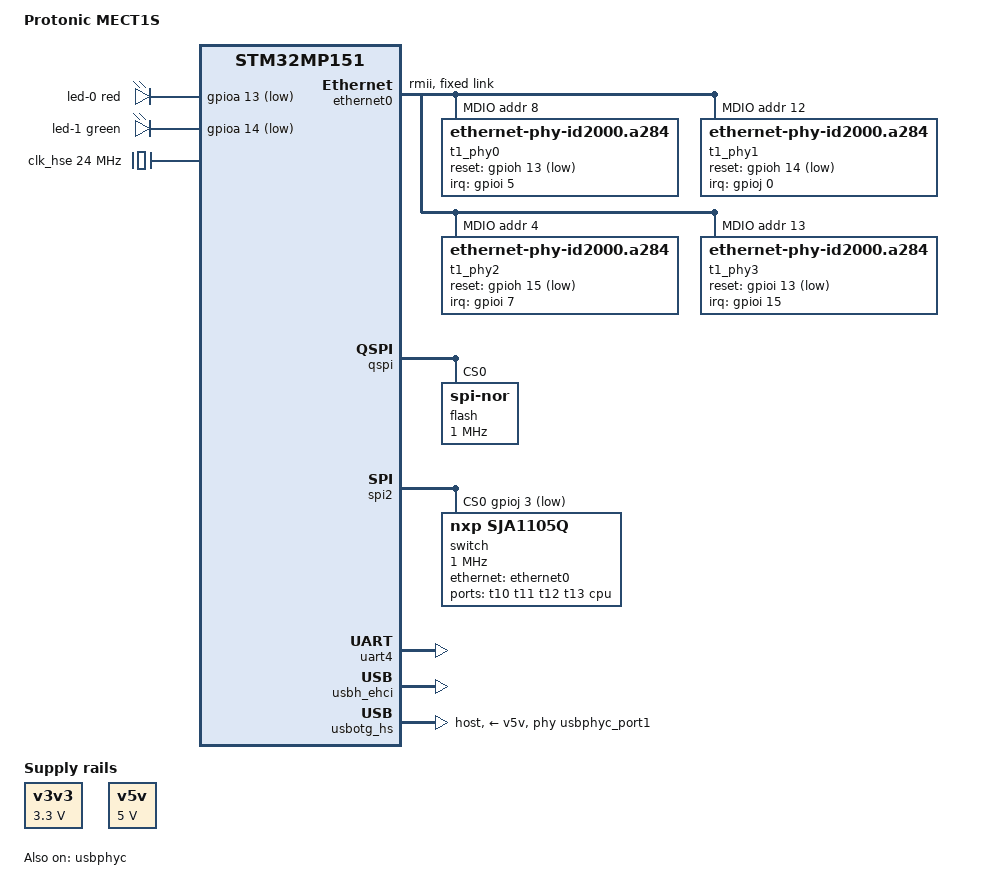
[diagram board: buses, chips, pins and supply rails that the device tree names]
// SPDX-License-Identifier: (GPL-2.0+ OR BSD-3-Clause)
/*
 * Copyright (C) Protonic Holland
 * Author: David Jander <david@protonic.nl>
 */
/dts-v1/;

#include "stm32mp151.dtsi"
#include "stm32mp15xc.dtsi"
#include "stm32mp15-pinctrl.dtsi"
#include "stm32mp15xxaa-pinctrl.dtsi"
#include <dt-bindings/gpio/gpio.h>
#include <dt-bindings/input/input.h>
#include <dt-bindings/leds/common.h>

/ {
	model = "Protonic MECT1S";
	compatible = "prt,mect1s", "st,stm32mp151";

	chosen {
		stdout-path = "serial0:1500000n8";
	};

	aliases {
		serial0 = &uart4;
		ethernet0 = &ethernet0;
		ethernet1 = &ethernet1;
		ethernet2 = &ethernet2;
		ethernet3 = &ethernet3;
		ethernet4 = &ethernet4;
	};

	v3v3: regulator-v3v3 {
		compatible = "regulator-fixed";
		regulator-name = "v3v3";
		regulator-min-microvolt = <3300000>;
		regulator-max-microvolt = <3300000>;
	};

	v5v: regulator-v5v {
		compatible = "regulator-fixed";
		regulator-name = "v5v";
		regulator-min-microvolt = <5000000>;
		regulator-max-microvolt = <5000000>;
		regulator-always-on;
	};

	led {
		compatible = "gpio-leds";

		led-0 {
			color = <LED_COLOR_ID_RED>;
			function = LED_FUNCTION_DEBUG;
			gpios = <&gpioa 13 GPIO_ACTIVE_LOW>;
		};

		led-1 {
			color = <LED_COLOR_ID_GREEN>;
			function = LED_FUNCTION_DEBUG;
			gpios = <&gpioa 14 GPIO_ACTIVE_LOW>;
			linux,default-trigger = "heartbeat";
		};
	};
};

&clk_hse {
	clock-frequency = <24000000>;
};

&clk_lse {
	status = "disabled";
};

&ethernet0 {
	status = "okay";
	pinctrl-0 = <&ethernet0_rmii_pins_a>;
	pinctrl-1 = <&ethernet0_rmii_sleep_pins_a>;
	pinctrl-names = "default", "sleep";
	phy-mode = "rmii";
	max-speed = <100>;
	st,eth-clk-sel;

	fixed-link {
		speed = <100>;
		full-duplex;
	};

	mdio0: mdio {
		 #address-cells = <1>;
		 #size-cells = <0>;
		 compatible = "snps,dwmac-mdio";
	};
};

&{ethernet0_rmii_pins_a/pins1} {
	pinmux = <STM32_PINMUX('B', 12, AF11)>, /* ETH1_RMII_TXD0 */
		 <STM32_PINMUX('B', 13, AF11)>, /* ETH1_RMII_TXD1 */
		 <STM32_PINMUX('B', 11, AF11)>, /* ETH1_RMII_TX_EN */
		 <STM32_PINMUX('A', 2, AF11)>,  /* ETH1_MDIO */
		 <STM32_PINMUX('C', 1, AF11)>;  /* ETH1_MDC */
};

&{ethernet0_rmii_pins_a/pins2} {
	pinmux = <STM32_PINMUX('C', 4, AF11)>,  /* ETH1_RMII_RXD0 */
		 <STM32_PINMUX('C', 5, AF11)>,  /* ETH1_RMII_RXD1 */
		 <STM32_PINMUX('A', 1, AF11)>,  /* ETH1_RMII_REF_CLK input */
		 <STM32_PINMUX('A', 7, AF11)>;  /* ETH1_RMII_CRS_DV */
};

&{ethernet0_rmii_sleep_pins_a/pins1} {
	pinmux = <STM32_PINMUX('B', 12, ANALOG)>, /* ETH1_RMII_TXD0 */
		 <STM32_PINMUX('B', 13, ANALOG)>, /* ETH1_RMII_TXD1 */
		 <STM32_PINMUX('B', 11, ANALOG)>, /* ETH1_RMII_TX_EN */
		 <STM32_PINMUX('C', 4, ANALOG)>,  /* ETH1_RMII_RXD0 */
		 <STM32_PINMUX('C', 5, ANALOG)>,  /* ETH1_RMII_RXD1 */
		 <STM32_PINMUX('A', 1, ANALOG)>,  /* ETH1_RMII_REF_CLK */
		 <STM32_PINMUX('A', 7, ANALOG)>;  /* ETH1_RMII_CRS_DV */
};

&mdio0 {
	/* All this DP83TG720R PHYs can't be probed before switch@0 is
	 * probed so we need to use compatible with PHYid
	 */
	/* TI DP83TG720R */
	t1_phy0: ethernet-phy@8 {
		compatible = "ethernet-phy-id2000.a284";
		reg = <8>;
		interrupts-extended = <&gpioi 5 IRQ_TYPE_LEVEL_LOW>;
		reset-gpios = <&gpioh 13 GPIO_ACTIVE_LOW>;
		reset-assert-us = <10>;
		reset-deassert-us = <35>;
	};

	/* TI DP83TG720R */
	t1_phy1: ethernet-phy@c {
		compatible = "ethernet-phy-id2000.a284";
		reg = <12>;
		interrupts-extended = <&gpioj 0 IRQ_TYPE_LEVEL_LOW>;
		reset-gpios = <&gpioh 14 GPIO_ACTIVE_LOW>;
		reset-assert-us = <10>;
		reset-deassert-us = <35>;
	};

	/* TI DP83TG720R */
	t1_phy2: ethernet-phy@4 {
		compatible = "ethernet-phy-id2000.a284";
		reg = <4>;
		interrupts-extended = <&gpioi 7 IRQ_TYPE_LEVEL_LOW>;
		reset-gpios = <&gpioh 15 GPIO_ACTIVE_LOW>;
		reset-assert-us = <10>;
		reset-deassert-us = <35>;
	};

	/* TI DP83TG720R */
	t1_phy3: ethernet-phy@d {
		compatible = "ethernet-phy-id2000.a284";
		reg = <13>;
		interrupts-extended = <&gpioi 15 IRQ_TYPE_LEVEL_LOW>;
		reset-gpios = <&gpioi 13 GPIO_ACTIVE_LOW>;
		reset-assert-us = <10000>;
		reset-deassert-us = <1000>;
	};
};

&qspi {
	pinctrl-names = "default", "sleep";
	pinctrl-0 = <&qspi_clk_pins_a
		     &qspi_bk1_pins_a
		     &qspi_cs1_pins_a>;
	pinctrl-1 = <&qspi_clk_sleep_pins_a
		     &qspi_bk1_sleep_pins_a
		     &qspi_cs1_sleep_pins_a>;
	status = "okay";

	flash@0 {
		compatible = "jedec,spi-nor";
		reg = <0>;
		spi-rx-bus-width = <4>;
		spi-max-frequency = <1000000>;
		#address-cells = <1>;
		#size-cells = <1>;
	};
};

&{qspi_bk1_pins_a/pins} {
	/delete-property/ bias-disable;
	bias-pull-up;
	drive-push-pull;
	slew-rate = <1>;
};

&spi2 {
	pinctrl-0 = <&spi2_pins_b>;
	pinctrl-names = "default";
	cs-gpios = <&gpioj 3 GPIO_ACTIVE_LOW>;
	/delete-property/dmas;
	/delete-property/dma-names;
	status = "okay";

	switch@0 {
		compatible = "nxp,sja1105q";
		reg = <0>;
		spi-max-frequency = <1000000>;
		spi-rx-delay-us = <1>;
		spi-tx-delay-us = <1>;
		spi-cpha;

		ports {
			#address-cells = <1>;
			#size-cells = <0>;

			ethernet1: port@0 {
				reg = <0>;
				label = "t10";
				phy-mode = "rgmii-id";
				phy-handle = <&t1_phy0>;
			};

			ethernet2: port@1 {
				reg = <1>;
				label = "t11";
				phy-mode = "rgmii-id";
				phy-handle = <&t1_phy1>;
			};

			ethernet3: port@2 {
				reg = <2>;
				label = "t12";
				phy-mode = "rgmii-id";
				phy-handle = <&t1_phy2>;
			};

			ethernet4: port@3 {
				reg = <3>;
				label = "t13";
				phy-mode = "rgmii-id";
				phy-handle = <&t1_phy3>;
			};

			port@4 {
				reg = <4>;
				label = "cpu";
				ethernet = <&ethernet0>;
				phy-mode = "rmii";

				/* RGMII mode is not working properly, using RMII instead. */
				fixed-link {
					speed = <100>;
					full-duplex;
				};
			};
		};
	};
};

&uart4 {
	pinctrl-names = "default", "sleep", "idle";
	pinctrl-0 = <&uart4_pins_a>;
	pinctrl-1 = <&uart4_sleep_pins_a>;
	pinctrl-2 = <&uart4_idle_pins_a>;
	/delete-property/dmas;
	/delete-property/dma-names;
	status = "okay";
};

&usbh_ehci {
	status = "okay";
};

&usbotg_hs {
	dr_mode = "host";
	pinctrl-0 = <&usbotg_hs_pins_a>;
	pinctrl-names = "default";
	phys = <&usbphyc_port1 0>;
	phy-names = "usb2-phy";
	vbus-supply = <&v5v>;
	status = "okay";
};

&usbphyc {
	status = "okay";
};

&usbphyc_port0 {
	phy-supply = <&v3v3>;
};

&usbphyc_port1 {
	phy-supply = <&v3v3>;
};
